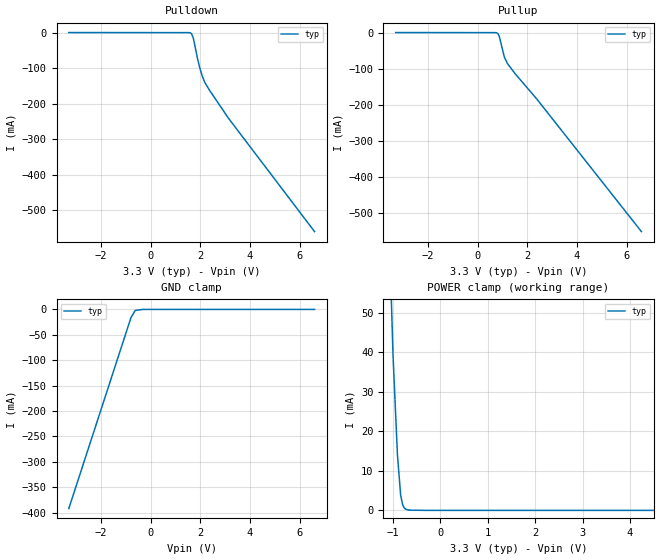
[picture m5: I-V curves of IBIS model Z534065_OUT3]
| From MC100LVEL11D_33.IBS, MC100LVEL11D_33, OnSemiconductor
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| (C) COPYRIGHT 1993-2000
| MENTOR GRAPHICS CORPORATION
| ICX STANDARD LIBRARY, ICX PROJECT MODELING,
| ICX CUSTOM MODELING, ICX VENDOR MODEL
| ALL RIGHTS RESERVED.
| THE FOLLOWING ARE TRADEMARKS OR SERVICE MARKS OF
| MENTOR GRAPHICS CORPORATION:ICX (R), ICX STANDARD
| LIBRARY(R), ICX PROJECT MODELING(R), ICX CUSTOM
| MODELING(R), qualityIBIS(TM), MODELVIEWER(TM),
| AND MODELEDITOR(TM)
| ALL COPIES OF SOFTWARE, INCLUDING BUT NOT LIMITED TO
| ANY MODIFICATIONS, ENHANCEMENTS OR DERIVATIVE WORKS,
| MUST CONTAIN ALL MENTOR GRAPHICS CORPORATION'S
| NOTICES AND LEGENDS, INCLUDING THOSE EMBEDDED IN
| SOFTWARE AND THOSE AFFIXED TO SOFTWARE MEDIUM
| AND CONTAINER, AS RECEIVED FROM MENTOR GRAPHICS
| CORPORATION.
| Model Application Version 1.89 2/18/99.
[Model] Z534065_OUT3
Model_type Output_ECL
Vref=1.300V
Rref=50.00ohms
Cref=0.000F
Vmeas=1.977V
C_comp 1.000pF NA NA
| variable typ   min   max
[Voltage Range] 3.300V NA NA
[POWER Clamp Reference] 3.300V NA NA
[Pullup Reference] 3.300V NA NA
[Pulldown Reference] 3.300V NA NA
[GND Clamp Reference] 0.000V NA NA
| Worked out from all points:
|   POWER clamp passes 1 mA (typ) near -0.78 V on its own axis
[GND Clamp]
-3.3V     -391.7mA   NA         NA
-795.5mV  -16.03mA   NA         NA
-625.5mV  -1.993mA   NA         NA
-312.8mV  0A         NA         NA
6.6V      0A         NA         NA
[Pulldown]
-3.3V     251.5uA    NA         NA
1.611V    -1.289mA   NA         NA
1.648V    -3.801mA   NA         NA
1.718V    -16.16mA   NA         NA
1.893V    -76.01mA   NA         NA
1.983V    -101.6mA   NA         NA
2.082V    -123.9mA   NA         NA
2.182V    -140.8mA   NA         NA
2.379V    -163.5mA   NA         NA
3.138V    -241.8mA   NA         NA
6.6V      -560.6mA   NA         NA
[Pullup]
-3.3V     247.5uA    NA         NA
711mV     -28.45uA   NA         NA
749mV     -255.3uA   NA         NA
768mV     -589.5uA   NA         NA
805mV     -2.045mA   NA         NA
863mV     -8.535mA   NA         NA
878mV     -11.98mA   NA         NA
1.078V    -67.99mA   NA         NA
1.197V    -85.16mA   NA         NA
1.509V    -113.7mA   NA         NA
2.382V    -183.8mA   NA         NA
6.6V      -551.4mA   NA         NA
[POWER Clamp]
-3.3V     1.211A     NA         NA
-1.153V   101.5mA    NA         NA
-998mV    39.42mA    NA         NA
-904mV    14.04mA    NA         NA
-836mV    3.775mA    NA         NA
-794mV    1.417mA    NA         NA
-756mV    530.5uA    NA         NA
-717mV    228.9uA    NA         NA
-657mV    57.04uA    NA         NA
-328.5mV  0A         NA         NA
6.6V      0A         NA         NA
[Ramp]
| variable typ min max
dV/dt_r 481.9m/449.1p NA NA
dV/dt_f 481.9m/215.0p NA NA
R_load = 50.0Ohms
